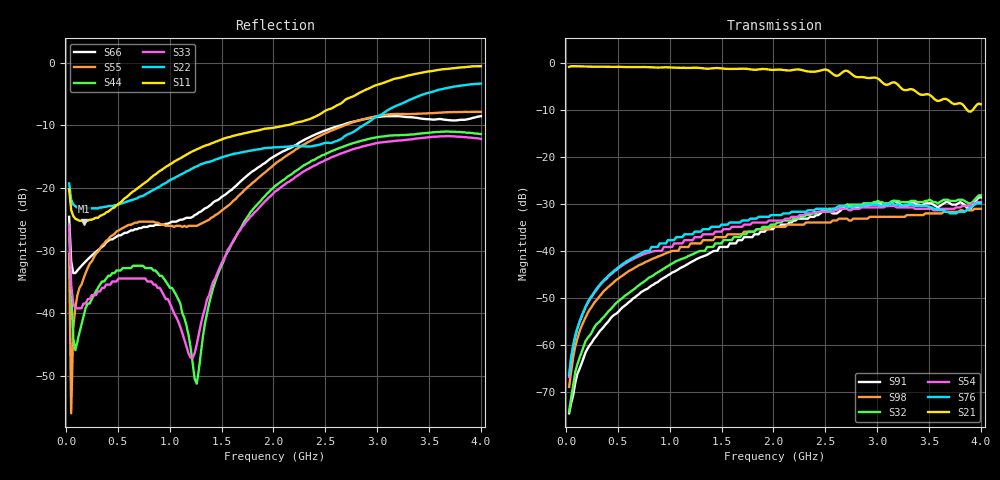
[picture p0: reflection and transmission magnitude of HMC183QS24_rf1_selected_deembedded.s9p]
!Hittite Microwave Corporation
!12 Elizabeth Drive
!Chelmsford, MA 01824
!Tel: 978-250-3343
!Fax: 978-250-3373
!Device: HMC183QS24, DC-2 GHz GaAS MMIC SP8T Non-Reflective Switch in 24-lead QSOP package
!Misc: Port 1 = RFCom, Port 2 = RF1, Port 3 = RF2, Port 4 = RF3, Port 5 = RF4, Port 6 = RF5, Port 7 = RF6, Port 8 = RF7, Port 9 = RF8, RF1 selected, Vctl=0/-5V
# MHZ S MA R 50
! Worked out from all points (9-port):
!   201 points, 30 MHz to 4 GHz, reference 50 ohm
!   strongest paths, dB at 30 MHz, 1.022 GHz, 2.015 GHz, 3.007 GHz, 4 GHz:
!     S21: -0.9, -1.0, -1.5, -3.4, -8.8
!     S76: -66.3, -37.7, -32.4, -30.2, -29.9
!     S54: -66.8, -39.2, -33.6, -30.8, -29.6
!     S32: -74.1, -42.7, -34.4, -29.4, -28.2
!     S98: -68.9, -40.0, -34.9, -32.8, -31.1
!     S91: -74.5, -44.6, -34.9, -29.9, -28.6
!   lowest |S11| = -25.4 dB at 168.9 MHz (marker M1), VSWR 1.11, Z = 54.5 - j3.43 ohm
!   |S11| at or under -10 dB: start of sweep to 2.117 GHz
